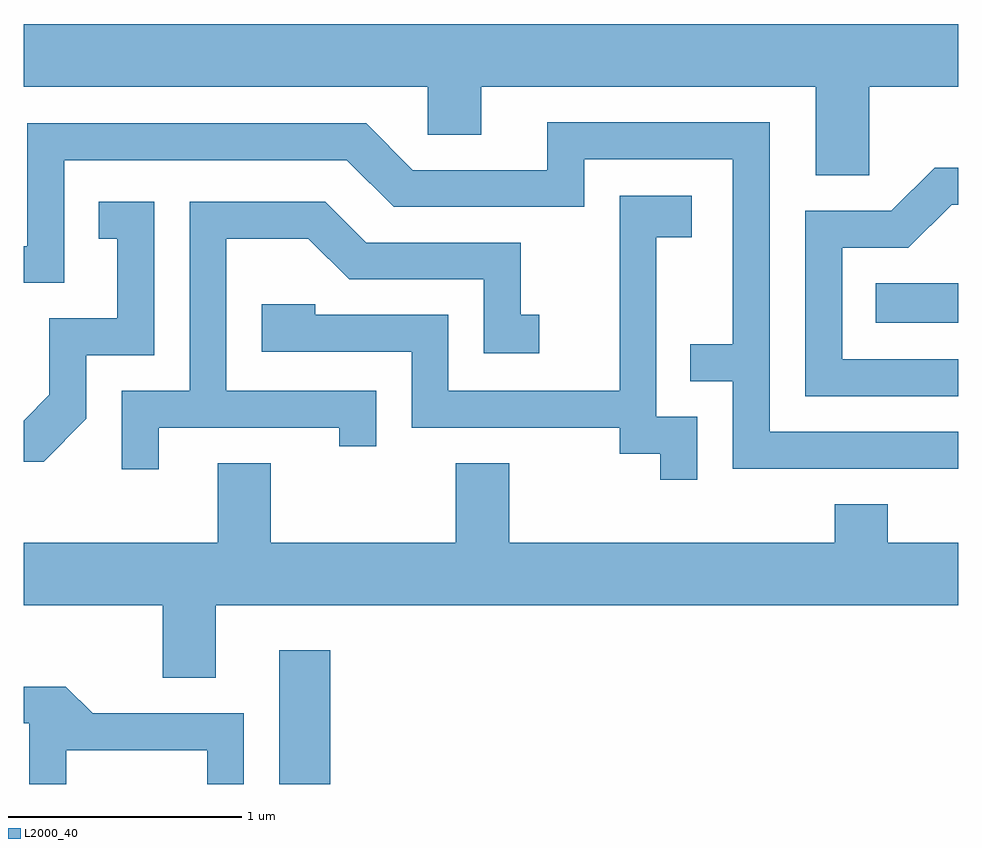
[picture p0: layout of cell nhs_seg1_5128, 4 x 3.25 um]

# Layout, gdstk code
import gdstk
lib = gdstk.Library(unit=1e-6, precision=1e-09)
def R(c, l, rs):  # rectangles x0, y0, x1, y1
    for r in rs: c.add(gdstk.rectangle(r[:2], r[2:], *l))
def P(c, l, *ps):  # polygons
    for p in ps: c.add(gdstk.Polygon(p, *l))
L2000_40 = (2000, 40)

nhs_seg1_5128 = lib.new_cell('nhs_seg1_5128')
R(nhs_seg1_5128, L2000_40, [(340.706,887.712,340.924,888.284), (343.258,889.686,343.611,889.854)])
P(nhs_seg1_5128, L2000_40, [(343.229,890.696),(343.611,890.696),(343.611,890.964),(339.611,890.964),(339.611,890.696),(341.341,890.696),(341.341,890.491),(341.569,890.491),(341.569,890.696),(343.001,890.696),(343.001,890.316),(343.229,890.316)],
  [(343.611,889.219),(342.804,889.219),(342.804,890.544),(341.851,890.544),(341.851,890.339),(341.277,890.339),(341.077,890.539),(339.626,890.539),(339.626,890.014),(339.611,890.014),(339.611,889.856),(339.784,889.856),(339.784,890.381),(340.994,890.381),(341.194,890.181),(342.009,890.181),(342.009,890.386),(342.646,890.386),(342.646,889.594),(342.463,889.594),(342.463,889.436),(342.646,889.436),(342.646,889.061),(343.611,889.061)],
  [(343.611,889.529),(343.114,889.529),(343.114,890.006),(343.397,890.006),(343.582,890.191),(343.611,890.191),(343.611,890.349),(343.509,890.349),(343.324,890.164),(342.956,890.164),(342.956,889.371),(343.611,889.371)],
  [(342.494,889.284),(342.319,889.284),(342.319,890.051),(342.469,890.051),(342.469,890.229),(342.161,890.229),(342.161,889.394),(341.429,889.394),(341.429,889.719),(340.859,889.719),(340.859,889.764),(340.631,889.764),(340.631,889.561),(341.271,889.561),(341.271,889.236),(342.161,889.236),(342.161,889.126),(342.336,889.126),(342.336,889.013),(342.494,889.013)],
  [(340.189,889.236),(340.961,889.236),(340.961,889.158),(341.119,889.158),(341.119,889.394),(340.479,889.394),(340.479,890.046),(340.829,890.046),(341.004,889.871),(341.581,889.871),(341.581,889.556),(341.818,889.556),(341.818,889.719),(341.739,889.719),(341.739,890.029),(341.077,890.029),(340.902,890.204),(340.321,890.204),(340.321,889.394),(340.031,889.394),(340.031,889.058),(340.189,889.058)],
  [(339.879,889.274),(339.879,889.546),(340.169,889.546),(340.169,890.204),(339.933,890.204),(339.933,890.046),(340.011,890.046),(340.011,889.704),(339.721,889.704),(339.721,889.377),(339.611,889.266),(339.611,889.091),(339.697,889.091)],
  [(340.434,888.476),(343.611,888.476),(343.611,888.744),(343.309,888.744),(343.309,888.909),(343.081,888.909),(343.081,888.744),(341.689,888.744),(341.689,889.084),(341.461,889.084),(341.461,888.744),(340.669,888.744),(340.669,889.084),(340.441,889.084),(340.441,888.744),(339.611,888.744),(339.611,888.476),(340.206,888.476),(340.206,888.166),(340.434,888.166)],
  [(339.794,887.856),(340.396,887.856),(340.396,887.712),(340.554,887.712),(340.554,888.014),(339.907,888.014),(339.792,888.129),(339.611,888.129),(339.611,887.971),(339.636,887.971),(339.636,887.712),(339.794,887.712)])

lib.write_gds('nhs_seg1_5128.gds')
